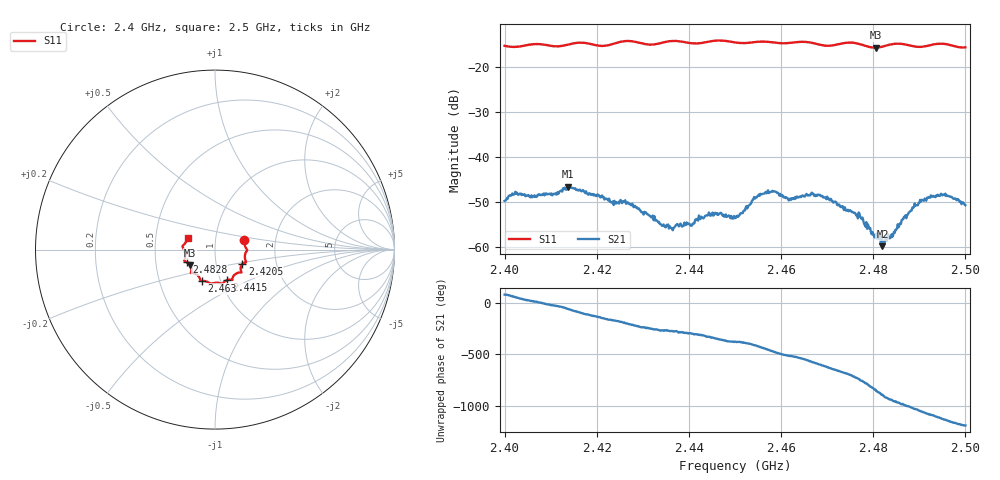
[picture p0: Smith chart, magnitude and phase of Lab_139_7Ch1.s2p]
# Hz S RI R 50
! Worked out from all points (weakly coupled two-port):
!   601 points, 2.4 GHz to 2.5 GHz, reference 50 ohm
!   highest |S21| = -46.62 dB at 2.4137 GHz (marker M1); lowest = -59.8 dB at 2.482 GHz (marker M2)
!   lowest |S11| = -15.7 dB at 2.4805 GHz (marker M3), VSWR 1.39, Z = 37.3 - j6.66 ohm
!   |S11| at or under -10 dB: start of sweep to end of sweep
!   S12 and S22 are empty: the file has one direction only
!   S11 on the Smith chart (normalised r, x): 2.4 GHz: 1.38, +0.15; 2.4205 GHz: 1.34, -0.23; 2.4415 GHz: 1.07, -0.38; 2.463 GHz: 0.82, -0.29; 2.4828 GHz: 0.72, -0.10; 2.5 GHz: 0.73, +0.10
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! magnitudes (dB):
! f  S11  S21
! 2.4 GHz  -15.3  -49.8
! 2.4137 GHz  -15.0  -46.6
! 2.4167 GHz  -14.6  -47.6
! 2.4205 GHz  -15.3  -48.5
! 2.4273 GHz  -14.2  -50.5
! 2.4333 GHz  -14.8  -54.5
! 2.4362 GHz  -14.2  -55.8
! 2.4415 GHz  -14.8  -53.8
! 2.4457 GHz  -14.1  -52.4
! 2.45 GHz  -14.5  -53.6
! 2.4567 GHz  -14.4  -47.8
! 2.463 GHz  -14.5  -48.9
! 2.4667 GHz  -14.6  -47.9
! 2.4773 GHz  -15.0  -53.5
! 2.4805 GHz  -15.7  -57.1
! 2.482 GHz  -15.5  -59.8
! 2.4828 GHz  -15.2  -57.9
! 2.4833 GHz  -15.1  -57.8
! 2.489 GHz  -15.4  -50.3
! 2.4922 GHz  -15.2  -49.0
! 2.4952 GHz  -14.8  -48.4
! 2.5 GHz  -15.6  -50.7
